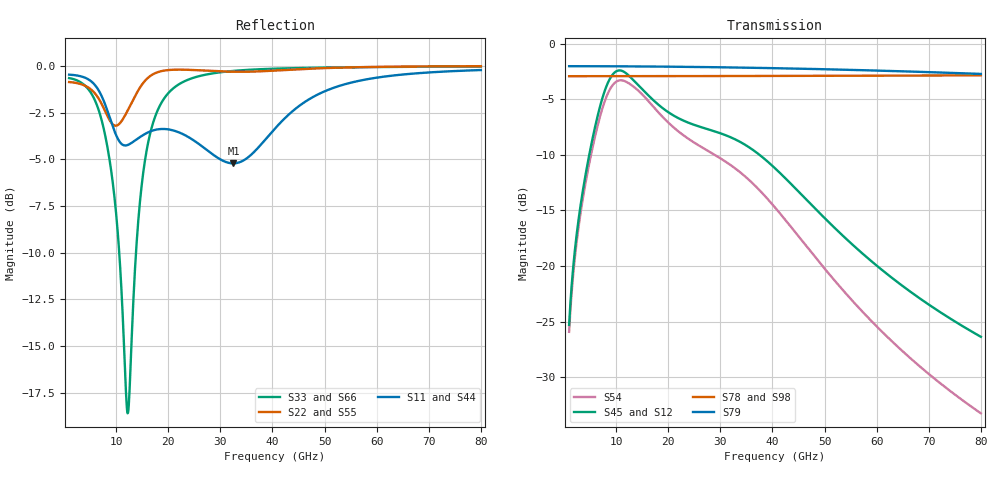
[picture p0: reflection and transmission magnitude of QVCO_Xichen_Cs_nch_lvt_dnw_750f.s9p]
! Touchstone Ver. 1.0
! Number of ports is 9
# Hz	S	RI	R	50.000000
! SCATTERING PARAMETERS  :
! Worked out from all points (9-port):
!   1001 points, 1 GHz to 80 GHz, reference 50 ohm
!   strongest paths, dB at 1 GHz, 20.75 GHz, 40.5 GHz, 60.25 GHz, 80 GHz:
!     S79: -2.0, -2.1, -2.2, -2.4, -2.7
!     S78: -2.9, -2.9, -2.9, -2.9, -2.9
!     S98: -2.9, -3.0, -3.0, -3.1, -3.2
!     S45: -25.3, -6.4, -11.2, -20.1, -26.4
!     S12: -25.3, -6.4, -11.2, -20.1, -26.4
!     S54: -25.9, -7.4, -14.7, -25.6, -33.3
!   lowest |S11| = -5.2 dB at 32.52 GHz (marker M1), VSWR 3.42, Z = 84.5 + j77.8 ohm
!   |S11| at or under -10 dB: nowhere
